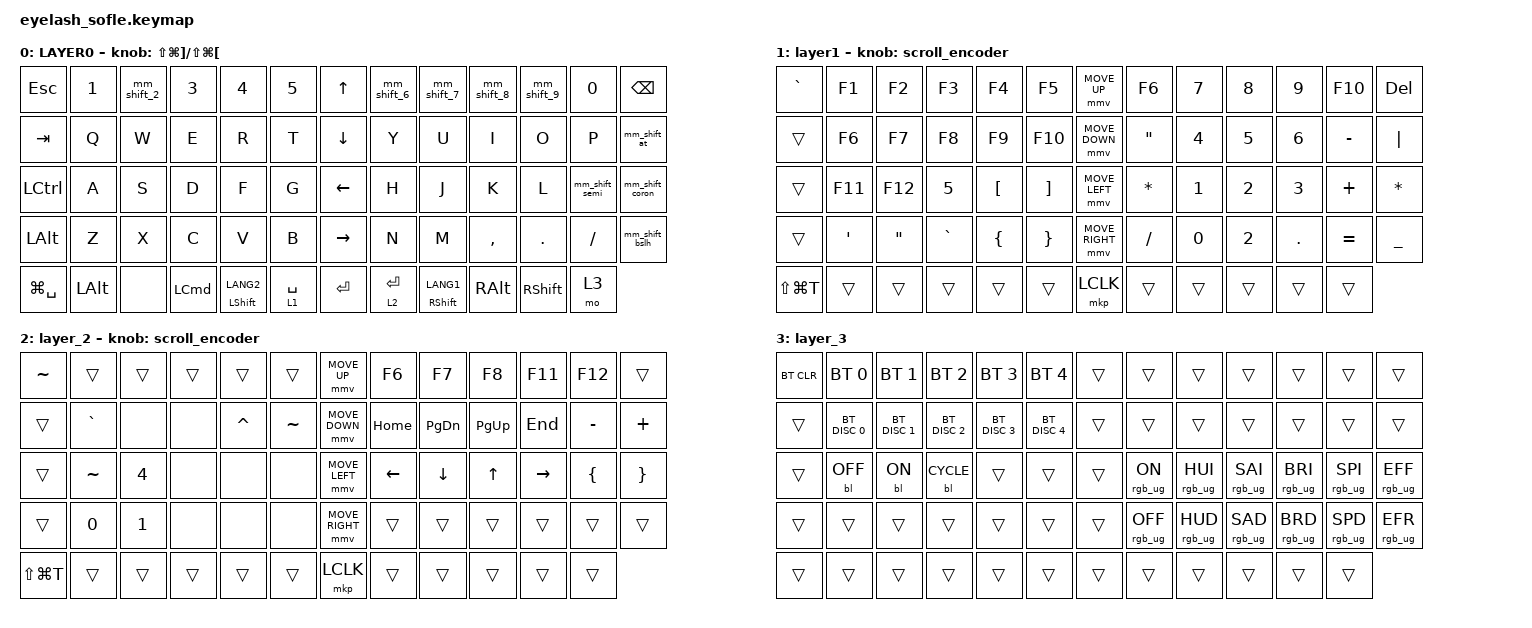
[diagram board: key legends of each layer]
#define ZMK_POINTING_DEFAULT_MOVE_VAL 1200  // 600
#define ZMK_POINTING_DEFAULT_SCRL_VAL 25   // 10

#include <input/processors.dtsi>
#include <zephyr/dt-bindings/input/input-event-codes.h>
#include <behaviors.dtsi>
#include <dt-bindings/zmk/backlight.h>
#include <dt-bindings/zmk/bt.h>
#include <dt-bindings/zmk/keys.h>
#include <dt-bindings/zmk/pointing.h>
#include <dt-bindings/zmk/rgb.h>

&mmv_input_listener { input-processors = <&zip_xy_scaler 2 1>; };

&msc_input_listener { input-processors = <&zip_scroll_scaler 2 1>; };

&msc {
    acceleration-exponent = <1>;      // 0
    time-to-max-speed-ms = <100>;       // 300
    delay-ms = <0>;                   // 0
};

&mmv {
    time-to-max-speed-ms = <500>;
    acceleration-exponent = <1>;
    trigger-period-ms = <16>;
};

/ {
    scroll_encoder: scroll_encoder {
        compatible = "zmk,behavior-sensor-rotate";
        #sensor-binding-cells = <0>;
        bindings = <&msc SCRL_DOWN>, <&msc SCRL_UP>;

        tap-ms = <100>;
    };

    behaviors {
        mm_shift_2: mm_shift_2 {
            compatible = "zmk,behavior-mod-morph";
            label = "MM_SHIFT_2";
            #binding-cells = <0>;

            // どちらの Shift でも発動（片方だけにしたいなら MOD_LSFT だけ等に）

            mods = <(MOD_LSFT|MOD_RSFT)>;

            // mods が無いとき → N2、あるとき → DQT

            bindings = <&kp N2>, <&kp DQT>;
        };

        // 通常は "\"、Shift中は "_"（= Shift+Minus）

        mm_shift_bslh: mm_shift_bslh {
            compatible = "zmk,behavior-mod-morph";
            label = "MM_SHIFT_BSLH";
            #binding-cells = <0>;
            mods = <(MOD_LSFT|MOD_RSFT)>;

            // ベースは Backslash、Shift中は Shift+Minus でアンダースコアを送る

            bindings = <&kp BSLH>, <&kp LS(MINUS)>;
        };

        mm_shift_6: mm_shift_6 {
            compatible = "zmk,behavior-mod-morph";
            label = "MM_SHIFT_6";
            #binding-cells = <0>;
            mods = <(MOD_LSFT|MOD_RSFT)>;
            bindings = <&kp NUMBER_6>, <&kp AMPERSAND>;
        };

        mm_shift_7: mm_shift_7 {
            compatible = "zmk,behavior-mod-morph";
            label = "MM_SHIFT_7";
            #binding-cells = <0>;
            mods = <(MOD_LSFT|MOD_RSFT)>;
            bindings = <&kp N7>, <&kp SQT>;
        };

        mm_shift_8: mm_shift_8 {
            compatible = "zmk,behavior-mod-morph";
            label = "MM_SHIFT_8";
            #binding-cells = <0>;
            mods = <(MOD_LSFT|MOD_RSFT)>;
            bindings = <&kp N8>, <&kp LEFT_PARENTHESIS>;
        };

        mm_shift_9: mm_shift_9 {
            compatible = "zmk,behavior-mod-morph";
            label = "MM_SHIFT_9";
            #binding-cells = <0>;
            mods = <(MOD_LSFT|MOD_RSFT)>;
            bindings = <&kp N9>, <&kp RIGHT_PARENTHESIS>;
        };

        mm_shift_semi: mm_shift_semi {
            compatible = "zmk,behavior-mod-morph";
            label = "MM_SHIFT_SEMI";
            #binding-cells = <0>;
            mods = <(MOD_LSFT|MOD_RSFT)>;
            bindings = <&kp SEMICOLON>, <&kp PLUS>;
        };

        mm_shift_coron: mm_shift_coron {
            compatible = "zmk,behavior-mod-morph";
            label = "MM_SHIFT_CORON";
            #binding-cells = <0>;
            mods = <(MOD_LSFT|MOD_RSFT)>;
            bindings = <&kp COLON>, <&kp ASTERISK>;
        };

        mm_shift_at: mm_shift_at {
            compatible = "zmk,behavior-mod-morph";
            label = "MM_SHIFT_AT";
            #binding-cells = <0>;
            mods = <(MOD_LSFT|MOD_RSFT)>;
            bindings = <&kp AT>, <&kp GRAVE>;
        };
    };

    combos {
        compatible = "zmk,combos";

        shift+2 {
            bindings = <&kp DOUBLE_QUOTES>;
            key-positions = <39 2>;
        };

        shift+2-1 {
            bindings = <&kp DOUBLE_QUOTES>;
            key-positions = <60 2>;
        };
    };

    keymap {
        compatible = "zmk,keymap";

        layer0 {
            bindings = <
&kp ESC        &kp N1        &mm_shift_2  &kp N3            &kp N4                &kp N5         &kp UP_ARROW     &mm_shift_6  &mm_shift_7            &mm_shift_8    &mm_shift_9      &kp N0          &kp BACKSPACE
&kp TAB        &kp Q         &kp W        &kp E             &kp R                 &kp T          &kp DOWN_ARROW   &kp Y        &kp U                  &kp I          &kp O            &kp P           &mm_shift_at
&kp LCTRL      &kp A         &kp S        &kp D             &kp F                 &kp G          &kp LEFT_ARROW   &kp H        &kp J                  &kp K          &kp L            &mm_shift_semi  &mm_shift_coron
&kp LEFT_ALT   &kp Z         &kp X        &kp C             &kp V                 &kp B          &kp RIGHT_ARROW  &kp N        &kp M                  &kp COMMA      &kp DOT          &kp FSLH        &mm_shift_bslh
&kp LG(SPACE)  &kp LEFT_ALT  &none        &kp LEFT_COMMAND  &mt LEFT_SHIFT LANG2  &lt 1 SPACE    &kp ENTER        &lt 2 ENTER  &mt RIGHT_SHIFT LANG1  &kp RIGHT_ALT  &kp RIGHT_SHIFT  &mo 3
            >;

            sensor-bindings = <&inc_dec_kp LS(LG(RIGHT_BRACKET)) LS(LG(LEFT_BRACKET))>;
            display-name = "LAYER0";
        };

        layer_1 {
            bindings = <
&kp GRAVE      &kp F1            &kp F2             &kp F3     &kp F4            &kp F5               &mmv MOVE_UP     &kp F6             &kp N7  &kp N8        &kp N9   &kp F10    &kp DELETE
&trans         &kp F6            &kp F7             &kp F8     &kp F9            &kp F10              &mmv MOVE_DOWN   &kp DOUBLE_QUOTES  &kp N4  &kp N5        &kp N6   &kp MINUS  &kp PIPE
&trans         &kp F11           &kp F12            &kp N5     &kp LEFT_BRACKET  &kp RIGHT_BRACKET    &mmv MOVE_LEFT   &kp ASTERISK       &kp N1  &kp NUMBER_2  &kp N3   &kp PLUS   &kp ASTERISK
&trans         &kp SINGLE_QUOTE  &kp DOUBLE_QUOTES  &kp GRAVE  &kp LEFT_BRACE    &kp RIGHT_BRACE      &mmv MOVE_RIGHT  &kp SLASH          &kp N0  &kp NUMBER_2  &kp DOT  &kp EQUAL  &kp UNDERSCORE
&kp LS(LG(T))  &trans            &trans             &trans     &trans            &trans               &mkp LCLK        &trans             &trans  &trans        &trans   &trans
            >;

            display-name = "layer1";
            sensor-bindings = <&scroll_encoder>;
        };

        layer_2 {
            bindings = <
&kp TILDE      &trans     &trans        &trans  &trans     &trans       &mmv MOVE_UP     &kp F6    &kp F7         &kp F8       &kp F11    &kp F12    &trans
&trans         &kp GRAVE  &none         &none   &kp CARET  &kp TILDE    &mmv MOVE_DOWN   &kp HOME  &kp PAGE_DOWN  &kp PAGE_UP  &kp END    &kp MINUS  &kp PLUS
&trans         &kp TILDE  &kp NUMBER_4  &none   &none      &none        &mmv MOVE_LEFT   &kp LEFT  &kp DOWN       &kp UP       &kp RIGHT  &kp LBRC   &kp RBRC
&trans         &kp N0     &kp NUMBER_1  &none   &none      &none        &mmv MOVE_RIGHT  &trans    &trans         &trans       &trans     &trans     &trans
&kp LS(LG(T))  &trans     &trans        &trans  &trans     &trans       &mkp LCLK        &trans    &trans         &trans       &trans     &trans
            >;

            sensor-bindings = <&scroll_encoder>;
        };

        layer_3 {
            bindings = <
&bt BT_CLR  &bt BT_SEL 0   &bt BT_SEL 1   &bt BT_SEL 2   &bt BT_SEL 3   &bt BT_SEL 4     &trans  &trans           &trans           &trans           &trans           &trans           &trans
&trans      &bt BT_DISC 0  &bt BT_DISC 1  &bt BT_DISC 2  &bt BT_DISC 3  &bt BT_DISC 4    &trans  &trans           &trans           &trans           &trans           &trans           &trans
&trans      &bl BL_OFF     &bl BL_ON      &bl BL_CYCLE   &trans         &trans           &trans  &rgb_ug RGB_ON   &rgb_ug RGB_HUI  &rgb_ug RGB_SAI  &rgb_ug RGB_BRI  &rgb_ug RGB_SPI  &rgb_ug RGB_EFF
&trans      &trans         &trans         &trans         &trans         &trans           &trans  &rgb_ug RGB_OFF  &rgb_ug RGB_HUD  &rgb_ug RGB_SAD  &rgb_ug RGB_BRD  &rgb_ug RGB_SPD  &rgb_ug RGB_EFR
&trans      &trans         &trans         &trans         &trans         &trans           &trans  &trans           &trans           &trans           &trans           &trans
            >;
        };
    };
};
